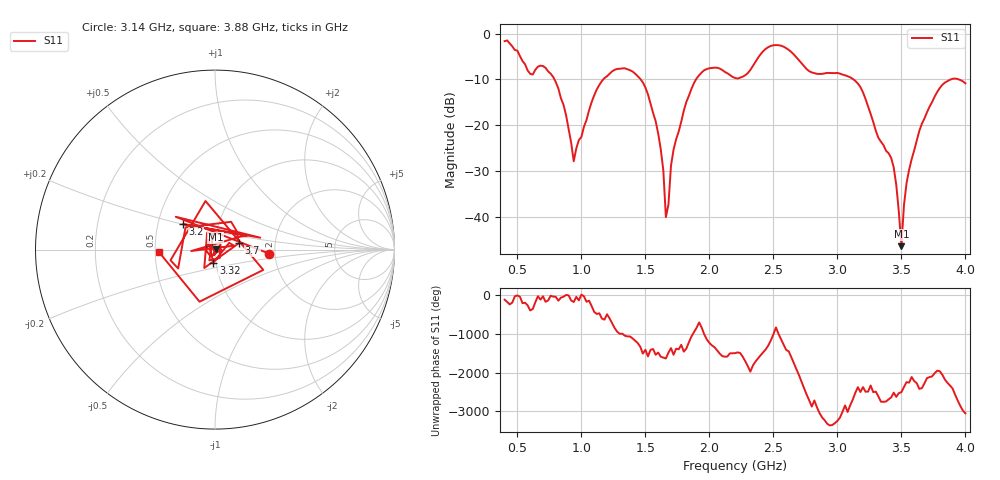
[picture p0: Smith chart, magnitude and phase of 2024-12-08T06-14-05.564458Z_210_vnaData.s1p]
!Created with skrf (http://scikit-rf.org).
# Hz S RI R 50.0
!freq ReS11 ImS11
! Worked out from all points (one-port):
!   181 points, 400 MHz to 4 GHz, reference 50 ohm
!   lowest |S11| = -46.3 dB at 3.5 GHz (marker M1), VSWR 1.01, Z = 50.5 + j0.096 ohm
!   |S11| at or under -10 dB: 789.2 MHz to 1.171 GHz (382 MHz wide, 39 % of centre); 1.463 GHz to 1.896 GHz (432.5 MHz wide, 25.8 % of centre); 3.125 GHz to 3.887 GHz (761.7 MHz wide, 21.7 % of centre) (the widest 3 of 4)
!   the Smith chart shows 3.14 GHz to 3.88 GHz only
!   S11 on the Smith chart (normalised r, x): 3.14 GHz: 1.87, -0.10; 3.2 GHz: 0.67, +0.20; 3.32 GHz: 0.97, -0.14; 3.7 GHz: 1.31, +0.10; 3.88 GHz: 0.52, -0.01
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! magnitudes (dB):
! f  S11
! 400 MHz  -1.7
! 600 MHz  -8.8
! 720 MHz  -7.5
! 860 MHz  -15.5
! 940 MHz  -27.8
! 1.12 GHz  -12.2
! 1.3 GHz  -7.7
! 1.52 GHz  -13.3
! 1.62 GHz  -25.2
! 1.66 GHz  -40.0
! 1.68 GHz  -37.3
! 1.7 GHz  -28.8
! 1.76 GHz  -21.4
! 1.94 GHz  -8.5
! 2.2 GHz  -9.7
! 2.48 GHz  -2.7
! 2.66 GHz  -4.6
! 3.1 GHz  -9.5
! 3.14 GHz  -10.3
! 3.2 GHz  -12.8
! 3.32 GHz  -22.7
! 3.44 GHz  -29.2
! 3.5 GHz  -46.3
! 3.52 GHz  -37.5
! 3.56 GHz  -29.7
! 3.7 GHz  -17.2
! 3.88 GHz  -10.1
! 4 GHz  -10.8
